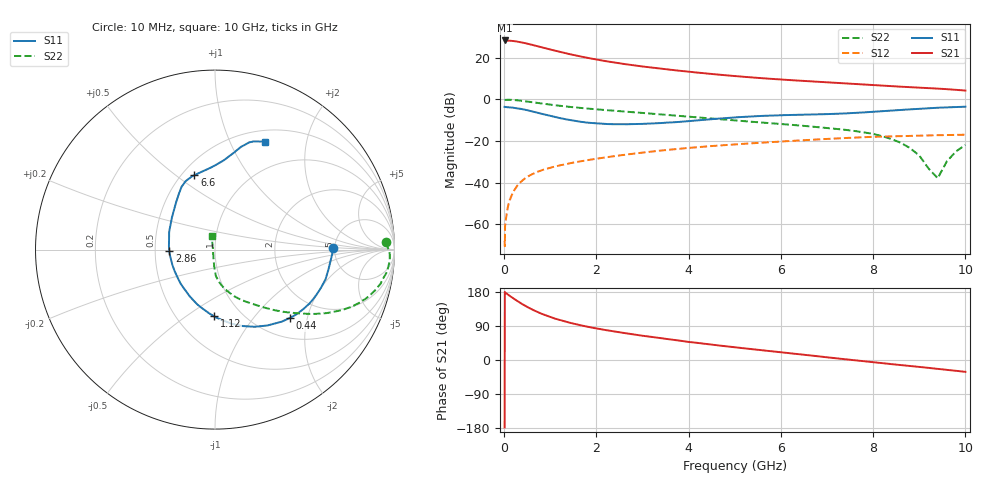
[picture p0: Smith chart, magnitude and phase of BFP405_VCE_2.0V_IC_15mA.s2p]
! Infineon Technologies  Discrete & RF Semiconductors
! BFP405
! VCE =  2.0 V,  IC =  15 mA
! Common Emitter S-Parameters:  Jan 2016
# GHz  S  MA  R  50
!  f  S11  S21  S12  S22
! GHz  MAG  ANG  MAG  ANG  MAG  ANG  MAG  ANG
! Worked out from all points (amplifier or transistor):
!   233 points, 10 MHz to 10 GHz, reference 50 ohm
!   highest |S21| = 28.2 dB at 10 MHz (marker M1)
!   |S21| within 3 dB of that: start of sweep to 765.5 MHz
!   unconditionally stable (mu >= 1): start of sweep to 19.03 MHz; 2.086 GHz to end of sweep
!   at 200 MHz: K = 0.19, MSG = 36.1 dB, |S12| = -44.3 dB
!   at 1.74 GHz: K = 0.90, MSG = 24.8 dB, |S12| = -29.4 dB
!   at 10 GHz: K = 1.38, MAG = 6.9 dB, |S12| = -17.0 dB
!   S11 on the Smith chart (normalised r, x): 10 MHz: 4.86, +0.12; 440 MHz: 1.41, -1.57; 1.12 GHz: 0.75, -0.65; 2.86 GHz: 0.59, -0.01; 6.6 GHz: 0.58, +0.59; 10 GHz: 0.64, +1.37
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0.01  0.6588 0.6  25.76 -178.0  0.0004 -97.4  0.9529 2.4
0.015  0.6566 -0.5  25.72 179.8  0.0003 97.6  0.9591 1.3
0.02  0.6547 -1.6  25.72 177.6  0.0009 91.0  0.9657 0.3
0.1  0.6418 -9.9  25.54 171.0  0.0032 84.0  0.9754 -3.6
0.195  0.6279 -19.6  24.93 163.1  0.0059 82.2  0.9635 -7.7
0.3  0.6062 -29.7  24.04 154.6  0.0089 78.1  0.942 -11.6
0.44  0.5651 -42.2  22.37 144.1  0.0124 73.3  0.9018 -16.2
0.6  0.5141 -55.3  20.3 133.5  0.0158 69.2  0.8532 -20.5
0.7  0.4834 -62.8  19.04 127.9  0.0178 67.1  0.8235 -22.8
0.9  0.4262 -76.7  16.71 117.7  0.0213 64.3  0.7678 -26.4
1.12  0.3721 -90.6  14.5 108.6  0.0247 62.1  0.7162 -29.6
1.4  0.3221 -107.4  12.24 99.0  0.0288 60.4  0.6612 -32.8
1.68  0.2868 -122.8  10.51 91.1  0.0329 59.1  0.6165 -35.4
2.2  0.256 -149.9  8.224 79.0  0.0405 56.9  0.5512 -39.6
2.86  0.2548 -178.7  6.414 66.6  0.0505 53.4  0.484 -44.6
3.4  0.2691 161.8  5.419 57.6  0.0589 49.9  0.4328 -48.8
5.1  0.3736 122.3  3.528 32.1  0.0843 37.3  0.3037 -64.2
6.6  0.4303 105.5  2.711 12.5  0.106 25.7  0.2252 -76.0
6.8  0.4349 102.3  2.624 9.9  0.109 24.0  0.215 -77.5
8.4  0.5371 80.2  2.062 -10.9  0.1293 9.1  0.1112 -91.0
9.4  0.6271 72.3  1.803 -23.6  0.1375 0.5  0.0128 156.7
10  0.6634 65.0  1.621 -31.2  0.1413 -4.0  0.0807 103.9
